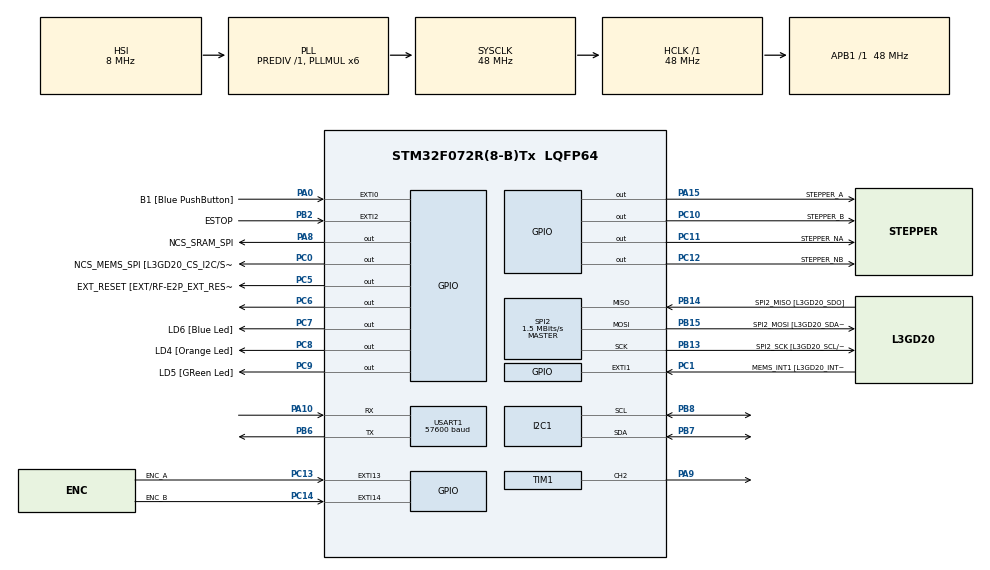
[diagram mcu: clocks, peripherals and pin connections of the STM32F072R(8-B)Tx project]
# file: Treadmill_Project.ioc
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I2C1.Timing=0x00201D2B
Mcu.Family=STM32F0
Mcu.Name=STM32F072R(8-B)Tx
Mcu.Package=LQFP64
NVIC.EXTI2_3_IRQn=true\:0\:0\:false\:false\:true\:true\:true\:true
NVIC.EXTI4_15_IRQn=true\:1\:0\:true\:false\:true\:true\:true\:true
NVIC.TIM7_IRQn=true\:0\:0\:false\:false\:true\:true\:true\:true
PA0.GPIO_Label=B1 [Blue PushButton]
PA0.GPIO_ModeDefaultEXTI=GPIO_MODE_EVT_RISING
PA0.Signal=GPXTI0
PA10.Mode=Asynchronous
PA10.Signal=USART1_RX
PA11.GPIO_Label=USBF4_DM
PA11.Signal=USB_DM
PA12.GPIO_Label=USBF4_DP
PA12.Signal=USB_DP
PA13.GPIO_Label=SWDIO
PA13.Signal=SYS_SWDIO
PA14.GPIO_Label=SWCLK
PA14.Signal=SYS_SWCLK
PA15.GPIO_Label=STEPPER_A
PA15.Signal=GPIO_Output
PA2.Signal=TSC_G1_IO3
PA3.Signal=TSC_G1_IO4
PA6.Signal=TSC_G2_IO3
PA7.Signal=TSC_G2_IO4
PA8.GPIO_Label=NCS_SRAM_SPI
PA8.Signal=GPIO_Output
PA9.Signal=S_TIM1_CH2
PB0.Signal=TSC_G3_IO2
PB1.Signal=TSC_G3_IO3
PB10.GPIO_Label=I2C2_SCL[EXT/RF-E2P_SCL]
PB10.Signal=I2C2_SCL
PB11.GPIO_Label=I2C2_SDA[EXT/RF-E2P_SDA]
PB11.Signal=I2C2_SDA
PB13.GPIO_Label=SPI2_SCK [L3GD20_SCL/SPC]
PB13.Mode=Full_Duplex_Master
PB13.Signal=SPI2_SCK
PB14.GPIO_Label=SPI2_MISO [L3GD20_SDO]
PB14.Mode=Full_Duplex_Master
PB14.Signal=SPI2_MISO
PB15.GPIO_Label=SPI2_MOSI [L3GD20_SDA/SDI]
PB15.Mode=Full_Duplex_Master
PB15.Signal=SPI2_MOSI
PB2.GPIO_Label=ESTOP
PB2.GPIO_PuPd=GPIO_PULLDOWN
PB2.Signal=GPXTI2
PB6.Mode=Asynchronous
PB6.Signal=USART1_TX
PB7.Mode=I2C
PB7.Signal=I2C1_SDA
PB8.Mode=I2C
PB8.Signal=I2C1_SCL
PC0.GPIO_Label=NCS_MEMS_SPI [L3GD20_CS_I2C/SPI]
PC0.Signal=GPIO_Output
PC1.GPIO_Label=MEMS_INT1 [L3GD20_INT1]
PC1.GPIO_ModeDefaultEXTI=GPIO_MODE_EVT_RISING
PC1.Signal=GPXTI1
PC10.GPIO_Label=STEPPER_B
PC10.Signal=GPIO_Output
PC11.GPIO_Label=STEPPER_NA
PC11.Signal=GPIO_Output
PC12.GPIO_Label=STEPPER_NB
PC12.Signal=GPIO_Output
PC13.GPIO_Label=ENC_A
PC13.Signal=GPXTI13
PC14-OSC32_IN.GPIO_Label=ENC_B
PC14-OSC32_IN.Signal=GPXTI14
PC5.GPIO_Label=EXT_RESET [EXT/RF-E2P_EXT_RESET]
PC5.Signal=GPIO_Output
PC6.Signal=GPIO_Output
PC7.GPIO_Label=LD6 [Blue Led]
PC7.Signal=GPIO_Output
PC8.GPIO_Label=LD4 [Orange Led]
PC8.Signal=GPIO_Output
PC9.GPIO_Label=LD5 [GReen Led]
PC9.Signal=GPIO_Output
ProjectManager.HeapSize=0x200
ProjectManager.StackSize=0x400
ProjectManager.TargetToolchain=CMake
RCC.AHBFreq_Value=48000000
RCC.APB1Freq_Value=48000000
RCC.APB1TimFreq_Value=48000000
RCC.HCLKFreq_Value=48000000
RCC.PLLMUL=RCC_PLL_MUL6
RCC.SYSCLKFreq_VALUE=48000000
RCC.SYSCLKSource=RCC_SYSCLKSOURCE_PLLCLK
SH.S_TIM1_CH2.0=TIM1_CH2,PWM Generation2 CH2
SPI2.BaudRatePrescaler=SPI_BAUDRATEPRESCALER_32
SPI2.CalculateBaudRate=1.5 MBits/s
SPI2.DataSize=SPI_DATASIZE_8BIT
SPI2.Direction=SPI_DIRECTION_2LINES
SPI2.Mode=SPI_MODE_MASTER
SPI2.VirtualType=VM_MASTER
TIM1.Channel-PWM\ Generation2\ CH2=TIM_CHANNEL_2
TIM1.Period=63156
TIM1.Prescaler=18
TIM7.Prescaler=23
USART1.BaudRate=57600
USART1.VirtualMode-Asynchronous=VM_ASYNC
VP_TIM1_VS_ClockSourceINT.Mode=Internal
VP_TIM7_VS_ClockSourceINT.Mode=Enable_Timer
board=STM32F072B-DISCO

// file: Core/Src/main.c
/* USER CODE BEGIN Header */
/**
 ******************************************************************************
 * @file           : main.c
 * @brief          : Main program body
 ******************************************************************************
 * @attention
 *
 * Copyright (c) 2025 STMicroelectronics.
 * All rights reserved.
 *
 * This software is licensed under terms that can be found in the LICENSE file
 * in the root directory of this software component.
 * If no LICENSE file comes with this software, it is provided AS-IS.
 *
 ******************************************************************************
 */
/* USER CODE END Header */
#include "main.h"

/* USER CODE BEGIN Includes */
#include <math.h>
#include <stdio.h>
#include <string.h>
#include "I2C_LCD_PCF8574.h"
/* USER CODE END Includes */

/* USER CODE BEGIN PD */

static const uint8_t SRAM_WR_CMD = 0x02;
static const uint8_t SRAM_RD_CMD = 0x03;

static const int STEPS_PER_REV = 2048;

#define MAX_SAVE_SLOTS 10
#define WORKOUT_ADDR_BASE 0x0000

#define WORKOUT_MAGIC 0xAA55
#define WORKOUT_SIZE sizeof(WorkoutData_t)

#define MENU_LIVE_DISPLAY 0
#define MENU_WRITE_WORKOUT 1
#define MENU_VIEW_HISTORY 2
#define MENU_SETTINGS 3

typedef struct
{
  uint16_t magicNumber;
  int32_t totalSteps;
  int32_t totalDistance;
  int32_t totalCalories;
  uint16_t slotUsed;
} __packed WorkoutData_t;
/* USER CODE END PD */

I2C_HandleTypeDef hi2c1;

SPI_HandleTypeDef hspi2;

TIM_HandleTypeDef htim1;
TIM_HandleTypeDef htim7;

UART_HandleTypeDef huart1;

/* USER CODE BEGIN PV */
int totalSteps = 0;
int totalDistance = 0; // meters
int totalCalories = 0;
volatile int encDir = 0;
volatile int step = 0;
int stepDir = 0;
int targetStepperRPM = 0;
int targetServoPosDeg = 0;
/* USER CODE END PV */

void SystemClock_Config(void);
static void MX_GPIO_Init(void);
static void MX_I2C1_Init(void);
static void MX_SPI2_Init(void);
static void MX_USART1_UART_Init(void);
static void MX_TIM7_Init(void);
static void MX_TIM1_Init(void);
/* USER CODE BEGIN PFP */

int distanceTraveled(int motorSteps);

int stepsWalked(int distanceTraveled);

int caloriesBurned(int stepsWalked);

void readSRAM(uint16_t addr, uint8_t *rd_array, uint16_t size);

void writeSRAM(uint16_t addr, uint8_t *wr_array, uint16_t size);

void setServoPos(double servoPosDeg);

void setStepperSpeed(double rpm, int direction);

void adjustSettings(void);

void updateLiveDisplay(void);

void saveWorkout(uint8_t slot);

void loadWorkout(uint8_t slot);

void processUARTCommand(uint8_t *cmdBuffer);

void handleViewWorkouts(void);

/* USER CODE END PFP */

int main(void)
{

  /* USER CODE BEGIN 1 */
  char lcdStr1[17];
  char lcdStr2[17];
  /* USER CODE END 1 */

  /* MCU Configuration--------------------------------------------------------*/

  /* Reset of all peripherals, Initializes the Flash interface and the Systick. */
  HAL_Init();

  /* Configure the system clock */
  SystemClock_Config();

  /* Initialize all configured peripherals */
  MX_GPIO_Init();
  MX_I2C1_Init();
  MX_SPI2_Init();
  MX_USART1_UART_Init();
  MX_TIM7_Init();
  MX_TIM1_Init();
  /* USER CODE BEGIN 2 */
  // Start timer 7 for the stepper
  HAL_TIM_Base_Start_IT(&htim7);

  // Start 40Hz PWM for the servo
  HAL_TIM_PWM_Start(&htim1, TIM_CHANNEL_2);
  TIM1->CCR2 = 0;

  // Initalize the LCD
  LCD_Start();

  // Configure SRAM for sequential reads and writes
  uint8_t sramEnSequentialReadCMD[2] = {0x05, 0x40};
  uint8_t sramEnSequentialWriteCMD[2] = {0x01, 0x40};
  HAL_GPIO_WritePin(NCS_SRAM_SPI_GPIO_Port, NCS_SRAM_SPI_Pin, GPIO_PIN_RESET);
  HAL_SPI_Transmit(&hspi2, sramEnSequentialReadCMD, 2, 100);
  HAL_GPIO_WritePin(NCS_SRAM_SPI_GPIO_Port, NCS_SRAM_SPI_Pin, GPIO_PIN_SET);
  HAL_Delay(5);
  HAL_GPIO_WritePin(NCS_SRAM_SPI_GPIO_Port, NCS_SRAM_SPI_Pin, GPIO_PIN_RESET);
  HAL_SPI_Transmit(&hspi2, sramEnSequentialWriteCMD, 2, 100);
  HAL_GPIO_WritePin(NCS_SRAM_SPI_GPIO_Port, NCS_SRAM_SPI_Pin, GPIO_PIN_SET);

  // Variable to keep track of live display refresh
  uint32_t liveDisplayLastRefresh = HAL_GetTick();

  // Variable to prevent updating the LCD too often
  int updateLCD = 0;

  // UI variables
  int currentSlot = 0;
  int currentMenu = MENU_LIVE_DISPLAY;
  int editSlot = 0;

  /* USER CODE END 2 */

  /* Infinite loop */
  /* USER CODE BEGIN WHILE */
  while (1)
  {
    if (encDir && !editSlot)
    {
      updateLCD = 1;
      // Cycle through menu options
      currentMenu += encDir;
      currentMenu = (currentMenu > 3) ? (0) : ((currentMenu < 0) ? (3) : currentMenu);

      switch (currentMenu)
      {
      case MENU_LIVE_DISPLAY:
        break;
      case MENU_WRITE_WORKOUT:
        snprintf(lcdStr1, 16, "Write Workout");
        snprintf(lcdStr2, 16, "B1 to set slot");
        break;
      case MENU_VIEW_HISTORY:
        snprintf(lcdStr1, 16, "Send to computer");
        snprintf(lcdStr2, 16, "B1 to set slot");
        break;
      case MENU_SETTINGS:
        snprintf(lcdStr1, 16, "Settings");
        snprintf(lcdStr2, 16, "B1 to enter");
        break;
      }
      encDir = 0;
    }

    // Handle each menu state
    switch (currentMenu)
    {
    case MENU_LIVE_DISPLAY:
      // Update live display
      if (HAL_GetTick() - liveDisplayLastRefresh >= 250)
      {
        liveDisplayLastRefresh = HAL_GetTick();
        updateLiveDisplay();
      }
      break;

    case MENU_WRITE_WORKOUT:
      if (encDir && editSlot)
      {
        currentSlot += encDir;
        currentSlot = (currentSlot > MAX_SAVE_SLOTS) ? (0) : ((currentSlot < 0) ? (MAX_SAVE_SLOTS) : currentSlot);

        snprintf(lcdStr1, 16, "Save to slot %d?", currentSlot);

        updateLCD = 1;
        encDir = 0;
      }

      if (HAL_GPIO_ReadPin(B1_GPIO_Port, B1_Pin) && !editSlot)
      {
        editSlot = 1;
        snprintf(lcdStr1, 16, "Save to slot %d?", currentSlot);
        snprintf(lcdStr2, 16, "B1 to save", currentSlot);
        updateLCD = 1;

        // Wait for button release
        while (HAL_GPIO_ReadPin(B1_GPIO_Port, B1_Pin))
          ;
        HAL_Delay(200);
      }

      if (HAL_GPIO_ReadPin(B1_GPIO_Port, B1_Pin) && editSlot)
      {
        WorkoutData_t workout;
        workout.magicNumber = WORKOUT_MAGIC;
        workout.totalSteps = totalSteps;
        workout.totalDistance = totalDistance;
        workout.totalCalories = totalCalories;
        workout.slotUsed = 1;

        uint16_t addr = WORKOUT_ADDR_BASE + (currentSlot * WORKOUT_SIZE);
        writeSRAM(addr, (uint8_t *)&workout, WORKOUT_SIZE);

        // Verify save
        WorkoutData_t verify;
        readSRAM(addr, (uint8_t *)&verify, WORKOUT_SIZE);

        LCD_ClearDisplay();
        LCD_Position(0, 0);
        if (verify.magicNumber == WORKOUT_MAGIC)
        {
          LCD_PrintString("Workout Saved!");
        }
        else
        {
          LCD_PrintString("Save Failed!");
        }

        // Wait for button release
        while (HAL_GPIO_ReadPin(B1_GPIO_Port, B1_Pin))
          ;

        HAL_Delay(1000);
        // Reset flags and return to live display
        editSlot = 0;
        currentMenu = MENU_LIVE_DISPLAY;
      }
      break;

    case MENU_VIEW_HISTORY:
      if (encDir && editSlot)
      {
        currentSlot += encDir;
        currentSlot = (currentSlot > MAX_SAVE_SLOTS) ? (0) : ((currentSlot < 0) ? (MAX_SAVE_SLOTS) : currentSlot);

        snprintf(lcdStr1, 16, "Send slot %d?", currentSlot);

        updateLCD = 1;
        encDir = 0;
      }

      if (HAL_GPIO_ReadPin(B1_GPIO_Port, B1_Pin) && !editSlot)
      {
        editSlot = 1;
        snprintf(lcdStr1, 16, "Send slot %d?", currentSlot);
        snprintf(lcdStr2, 16, "B1 to send", currentSlot);
        updateLCD = 1;

        // Wait for button release
        while (HAL_GPIO_ReadPin(B1_GPIO_Port, B1_Pin))
          ;
        HAL_Delay(200);
      }

      if (HAL_GPIO_ReadPin(B1_GPIO_Port, B1_Pin) && editSlot)
      {
        loadWorkout(currentSlot);

        LCD_ClearDisplay();
        LCD_PrintString("Sent!");

        // Wait for button release
        while (HAL_GPIO_ReadPin(B1_GPIO_Port, B1_Pin))
          ;

        HAL_Delay(1000);
        // Reset flags and return to live display
        editSlot = 0;
        currentMenu = MENU_LIVE_DISPLAY;
      }
      break;

    case MENU_SETTINGS:
      if (HAL_GPIO_ReadPin(B1_GPIO_Port, B1_Pin))
      {
        // Wait for button release
        while (HAL_GPIO_ReadPin(B1_GPIO_Port, B1_Pin))
          ;
        adjustSettings();
      }
      break;
    }

    if (updateLCD)
    {
      updateLCD = 0;
      lcdStr1[16] = 0;
      lcdStr2[16] = 0;

      // Update the LCD
      LCD_ClearDisplay();
      LCD_Position(0, 0);
      LCD_PrintString(lcdStr1);
      LCD_Position(1, 0);
      LCD_PrintString(lcdStr2);
    }

    // Process UART commands (keep this for remote access)
    uint8_t cmdBuffer;
    if (HAL_UART_Receive(&huart1, &cmdBuffer, 1, 10) == HAL_OK)
    {
      HAL_UART_Transmit(&huart1, &cmdBuffer, 1, 100);
      processUARTCommand(&cmdBuffer);
    }
  }
}

void SystemClock_Config(void)
{
  RCC_OscInitTypeDef RCC_OscInitStruct = {0};
  RCC_ClkInitTypeDef RCC_ClkInitStruct = {0};
  RCC_PeriphCLKInitTypeDef PeriphClkInit = {0};

  /** Initializes the RCC Oscillators according to the specified parameters
   * in the RCC_OscInitTypeDef structure.
   */
  RCC_OscInitStruct.OscillatorType = RCC_OSCILLATORTYPE_HSI;
  RCC_OscInitStruct.HSIState = RCC_HSI_ON;
  RCC_OscInitStruct.HSICalibrationValue = RCC_HSICALIBRATION_DEFAULT;
  RCC_OscInitStruct.PLL.PLLState = RCC_PLL_ON;
  RCC_OscInitStruct.PLL.PLLSource = RCC_PLLSOURCE_HSI;
  RCC_OscInitStruct.PLL.PLLMUL = RCC_PLL_MUL6;
  RCC_OscInitStruct.PLL.PREDIV = RCC_PREDIV_DIV1;
  if (HAL_RCC_OscConfig(&RCC_OscInitStruct) != HAL_OK)
  {
    Error_Handler();
  }

  /** Initializes the CPU, AHB and APB buses clocks
   */
  RCC_ClkInitStruct.ClockType = RCC_CLOCKTYPE_HCLK | RCC_CLOCKTYPE_SYSCLK | RCC_CLOCKTYPE_PCLK1;
  RCC_ClkInitStruct.SYSCLKSource = RCC_SYSCLKSOURCE_PLLCLK;
  RCC_ClkInitStruct.AHBCLKDivider = RCC_SYSCLK_DIV1;
  RCC_ClkInitStruct.APB1CLKDivider = RCC_HCLK_DIV1;

  if (HAL_RCC_ClockConfig(&RCC_ClkInitStruct, FLASH_LATENCY_1) != HAL_OK)
  {
    Error_Handler();
  }
  PeriphClkInit.PeriphClockSelection = RCC_PERIPHCLK_USART1 | RCC_PERIPHCLK_I2C1;
  PeriphClkInit.Usart1ClockSelection = RCC_USART1CLKSOURCE_PCLK1;
  PeriphClkInit.I2c1ClockSelection = RCC_I2C1CLKSOURCE_HSI;
  if (HAL_RCCEx_PeriphCLKConfig(&PeriphClkInit) != HAL_OK)
  {
    Error_Handler();
  }
}

static void MX_I2C1_Init(void)
{

  hi2c1.Instance = I2C1;
  hi2c1.Init.Timing = 0x00201D2B;
  hi2c1.Init.OwnAddress1 = 0;
  hi2c1.Init.AddressingMode = I2C_ADDRESSINGMODE_7BIT;
  hi2c1.Init.DualAddressMode = I2C_DUALADDRESS_DISABLE;
  hi2c1.Init.OwnAddress2 = 0;
  hi2c1.Init.OwnAddress2Masks = I2C_OA2_NOMASK;
  hi2c1.Init.GeneralCallMode = I2C_GENERALCALL_DISABLE;
  hi2c1.Init.NoStretchMode = I2C_NOSTRETCH_DISABLE;
  if (HAL_I2C_Init(&hi2c1) != HAL_OK)
  {
    Error_Handler();
  }

  /** Configure Analogue filter
   */
  if (HAL_I2CEx_ConfigAnalogFilter(&hi2c1, I2C_ANALOGFILTER_ENABLE) != HAL_OK)
  {
    Error_Handler();
  }

  /** Configure Digital filter
   */
  if (HAL_I2CEx_ConfigDigitalFilter(&hi2c1, 0) != HAL_OK)
  {
    Error_Handler();
  }
}

static void MX_SPI2_Init(void)
{

  /* SPI2 parameter configuration*/
  hspi2.Instance = SPI2;
  hspi2.Init.Mode = SPI_MODE_MASTER;
  hspi2.Init.Direction = SPI_DIRECTION_2LINES;
  hspi2.Init.DataSize = SPI_DATASIZE_8BIT;
  hspi2.Init.CLKPolarity = SPI_POLARITY_LOW;
  hspi2.Init.CLKPhase = SPI_PHASE_1EDGE;
  hspi2.Init.NSS = SPI_NSS_SOFT;
  hspi2.Init.BaudRatePrescaler = SPI_BAUDRATEPRESCALER_32;
  hspi2.Init.FirstBit = SPI_FIRSTBIT_MSB;
  hspi2.Init.TIMode = SPI_TIMODE_DISABLE;
  hspi2.Init.CRCCalculation = SPI_CRCCALCULATION_DISABLE;
  hspi2.Init.CRCPolynomial = 7;
  hspi2.Init.CRCLength = SPI_CRC_LENGTH_DATASIZE;
  hspi2.Init.NSSPMode = SPI_NSS_PULSE_ENABLE;
  if (HAL_SPI_Init(&hspi2) != HAL_OK)
  {
    Error_Handler();
  }
}

static void MX_TIM1_Init(void)
{

  TIM_ClockConfigTypeDef sClockSourceConfig = {0};
  TIM_MasterConfigTypeDef sMasterConfig = {0};
  TIM_OC_InitTypeDef sConfigOC = {0};
  TIM_BreakDeadTimeConfigTypeDef sBreakDeadTimeConfig = {0};

  htim1.Instance = TIM1;
  htim1.Init.Prescaler = 18;
  htim1.Init.CounterMode = TIM_COUNTERMODE_UP;
  htim1.Init.Period = 63156;
  htim1.Init.ClockDivision = TIM_CLOCKDIVISION_DIV1;
  htim1.Init.RepetitionCounter = 0;
  htim1.Init.AutoReloadPreload = TIM_AUTORELOAD_PRELOAD_DISABLE;
  if (HAL_TIM_Base_Init(&htim1) != HAL_OK)
  {
    Error_Handler();
  }
  sClockSourceConfig.ClockSource = TIM_CLOCKSOURCE_INTERNAL;
  if (HAL_TIM_ConfigClockSource(&htim1, &sClockSourceConfig) != HAL_OK)
  {
    Error_Handler();
  }
  if (HAL_TIM_PWM_Init(&htim1) != HAL_OK)
  {
    Error_Handler();
  }
  sMasterConfig.MasterOutputTrigger = TIM_TRGO_RESET;
  sMasterConfig.MasterSlaveMode = TIM_MASTERSLAVEMODE_DISABLE;
  if (HAL_TIMEx_MasterConfigSynchronization(&htim1, &sMasterConfig) != HAL_OK)
  {
    Error_Handler();
  }
  sConfigOC.OCMode = TIM_OCMODE_PWM1;
  sConfigOC.Pulse = 0;
  sConfigOC.OCPolarity = TIM_OCPOLARITY_HIGH;
  sConfigOC.OCNPolarity = TIM_OCNPOLARITY_HIGH;
  sConfigOC.OCFastMode = TIM_OCFAST_DISABLE;
  sConfigOC.OCIdleState = TIM_OCIDLESTATE_RESET;
  sConfigOC.OCNIdleState = TIM_OCNIDLESTATE_RESET;
  if (HAL_TIM_PWM_ConfigChannel(&htim1, &sConfigOC, TIM_CHANNEL_2) != HAL_OK)
  {
    Error_Handler();
  }
  sBreakDeadTimeConfig.OffStateRunMode = TIM_OSSR_DISABLE;
  sBreakDeadTimeConfig.OffStateIDLEMode = TIM_OSSI_DISABLE;
  sBreakDeadTimeConfig.LockLevel = TIM_LOCKLEVEL_OFF;
  sBreakDeadTimeConfig.DeadTime = 0;
  sBreakDeadTimeConfig.BreakState = TIM_BREAK_DISABLE;
  sBreakDeadTimeConfig.BreakPolarity = TIM_BREAKPOLARITY_HIGH;
  sBreakDeadTimeConfig.AutomaticOutput = TIM_AUTOMATICOUTPUT_DISABLE;
  if (HAL_TIMEx_ConfigBreakDeadTime(&htim1, &sBreakDeadTimeConfig) != HAL_OK)
  {
    Error_Handler();
  }
  HAL_TIM_MspPostInit(&htim1);
}

static void MX_TIM7_Init(void)
{

  TIM_MasterConfigTypeDef sMasterConfig = {0};

  htim7.Instance = TIM7;
  htim7.Init.Prescaler = 23;
  htim7.Init.CounterMode = TIM_COUNTERMODE_UP;
  htim7.Init.Period = 65535;
  htim7.Init.AutoReloadPreload = TIM_AUTORELOAD_PRELOAD_DISABLE;
  if (HAL_TIM_Base_Init(&htim7) != HAL_OK)
  {
    Error_Handler();
  }
  sMasterConfig.MasterOutputTrigger = TIM_TRGO_RESET;
  sMasterConfig.MasterSlaveMode = TIM_MASTERSLAVEMODE_DISABLE;
  if (HAL_TIMEx_MasterConfigSynchronization(&htim7, &sMasterConfig) != HAL_OK)
  {
    Error_Handler();
  }
}

static void MX_USART1_UART_Init(void)
{

  huart1.Instance = USART1;
  huart1.Init.BaudRate = 57600;
  huart1.Init.WordLength = UART_WORDLENGTH_8B;
  huart1.Init.StopBits = UART_STOPBITS_1;
  huart1.Init.Parity = UART_PARITY_NONE;
  huart1.Init.Mode = UART_MODE_TX_RX;
  huart1.Init.HwFlowCtl = UART_HWCONTROL_NONE;
  huart1.Init.OverSampling = UART_OVERSAMPLING_16;
  huart1.Init.OneBitSampling = UART_ONE_BIT_SAMPLE_DISABLE;
  huart1.AdvancedInit.AdvFeatureInit = UART_ADVFEATURE_NO_INIT;
  if (HAL_UART_Init(&huart1) != HAL_OK)
  {
    Error_Handler();
  }
}

static void MX_GPIO_Init(void)
{
  GPIO_InitTypeDef GPIO_InitStruct = {0};

  /* GPIO Ports Clock Enable */
  __HAL_RCC_GPIOC_CLK_ENABLE();
  __HAL_RCC_GPIOA_CLK_ENABLE();
  __HAL_RCC_GPIOB_CLK_ENABLE();

  /*Configure GPIO pin Output Level */
  HAL_GPIO_WritePin(GPIOC, NCS_MEMS_SPI_Pin | EXT_RESET_Pin | GPIO_PIN_6 | LD6_Pin | LD4_Pin | LD5_Pin | STEPPER_B_Pin | STEPPER_NA_Pin | STEPPER_NB_Pin, GPIO_PIN_RESET);

  /*Configure GPIO pin Output Level */
  HAL_GPIO_WritePin(GPIOA, NCS_SRAM_SPI_Pin | STEPPER_A_Pin, GPIO_PIN_RESET);

  /*Configure GPIO pins : ENC_A_Pin ENC_B_Pin */
  GPIO_InitStruct.Pin = ENC_A_Pin | ENC_B_Pin;
  GPIO_InitStruct.Mode = GPIO_MODE_IT_RISING;
  GPIO_InitStruct.Pull = GPIO_NOPULL;
  HAL_GPIO_Init(GPIOC, &GPIO_InitStruct);

  /*Configure GPIO pins : NCS_MEMS_SPI_Pin EXT_RESET_Pin PC6 LD6_Pin
                           LD4_Pin LD5_Pin STEPPER_B_Pin STEPPER_NA_Pin
                           STEPPER_NB_Pin */
  GPIO_InitStruct.Pin = NCS_MEMS_SPI_Pin | EXT_RESET_Pin | GPIO_PIN_6 | LD6_Pin | LD4_Pin | LD5_Pin | STEPPER_B_Pin | STEPPER_NA_Pin | STEPPER_NB_Pin;
  GPIO_InitStruct.Mode = GPIO_MODE_OUTPUT_PP;
  GPIO_InitStruct.Pull = GPIO_NOPULL;
  GPIO_InitStruct.Speed = GPIO_SPEED_FREQ_LOW;
  HAL_GPIO_Init(GPIOC, &GPIO_InitStruct);

  /*Configure GPIO pin : MEMS_INT1_Pin */
  GPIO_InitStruct.Pin = MEMS_INT1_Pin;
  GPIO_InitStruct.Mode = GPIO_MODE_EVT_RISING;
  GPIO_InitStruct.Pull = GPIO_NOPULL;
  HAL_GPIO_Init(MEMS_INT1_GPIO_Port, &GPIO_InitStruct);

  /*Configure GPIO pin : B1_Pin */
  GPIO_InitStruct.Pin = B1_Pin;
  GPIO_InitStruct.Mode = GPIO_MODE_EVT_RISING;
  GPIO_InitStruct.Pull = GPIO_NOPULL;
  HAL_GPIO_Init(B1_GPIO_Port, &GPIO_InitStruct);

  /*Configure GPIO pins : PA2 PA3 PA6 PA7 */
  GPIO_InitStruct.Pin = GPIO_PIN_2 | GPIO_PIN_3 | GPIO_PIN_6 | GPIO_PIN_7;
  GPIO_InitStruct.Mode = GPIO_MODE_AF_PP;
  GPIO_InitStruct.Pull = GPIO_NOPULL;
  GPIO_InitStruct.Speed = GPIO_SPEED_FREQ_LOW;
  GPIO_InitStruct.Alternate = GPIO_AF3_TSC;
  HAL_GPIO_Init(GPIOA, &GPIO_InitStruct);

  /*Configure GPIO pins : PB0 PB1 */
  GPIO_InitStruct.Pin = GPIO_PIN_0 | GPIO_PIN_1;
  GPIO_InitStruct.Mode = GPIO_MODE_AF_PP;
  GPIO_InitStruct.Pull = GPIO_NOPULL;
  GPIO_InitStruct.Speed = GPIO_SPEED_FREQ_LOW;
  GPIO_InitStruct.Alternate = GPIO_AF3_TSC;
  HAL_GPIO_Init(GPIOB, &GPIO_InitStruct);

  /*Configure GPIO pin : ESTOP_Pin */
  GPIO_InitStruct.Pin = ESTOP_Pin;
  GPIO_InitStruct.Mode = GPIO_MODE_IT_RISING;
  GPIO_InitStruct.Pull = GPIO_PULLDOWN;
  HAL_GPIO_Init(ESTOP_GPIO_Port, &GPIO_InitStruct);

  /*Configure GPIO pins : I2C2_SCL_Pin I2C2_SDA_Pin */
  GPIO_InitStruct.Pin = I2C2_SCL_Pin | I2C2_SDA_Pin;
  GPIO_InitStruct.Mode = GPIO_MODE_AF_OD;
  GPIO_InitStruct.Pull = GPIO_NOPULL;
  GPIO_InitStruct.Speed = GPIO_SPEED_FREQ_HIGH;
  GPIO_InitStruct.Alternate = GPIO_AF1_I2C2;
  HAL_GPIO_Init(GPIOB, &GPIO_InitStruct);

  /*Configure GPIO pins : NCS_SRAM_SPI_Pin STEPPER_A_Pin */
  GPIO_InitStruct.Pin = NCS_SRAM_SPI_Pin | STEPPER_A_Pin;
  GPIO_InitStruct.Mode = GPIO_MODE_OUTPUT_PP;
  GPIO_InitStruct.Pull = GPIO_NOPULL;
  GPIO_InitStruct.Speed = GPIO_SPEED_FREQ_LOW;
  HAL_GPIO_Init(GPIOA, &GPIO_InitStruct);

  /* EXTI interrupt init*/
  HAL_NVIC_SetPriority(EXTI2_3_IRQn, 0, 0);
  HAL_NVIC_EnableIRQ(EXTI2_3_IRQn);

  HAL_NVIC_SetPriority(EXTI4_15_IRQn, 1, 0);
  HAL_NVIC_EnableIRQ(EXTI4_15_IRQn);

}

/* USER CODE BEGIN 4 */
/// @brief
/// @param motorSteps
/// @return
int distanceTraveled(int motorSteps)
{
  return (0.1 * M_PI) * motorSteps / STEPS_PER_REV;
}

/// @brief
/// @param distanceTraveled
/// @return
int stepsWalked(int distanceTraveled)
{
  return distanceTraveled * 2;
}

int caloriesBurned(int stepsWalked)
{
  return stepsWalked * 0.04;
}

/// @brief Read bytes sequentially from the SRAM over SPI starting from addr and ending at addr + size
/// @param addr
/// @param rd_array
/// @param size
void readSRAM(uint16_t addr, uint8_t *rd_array, uint16_t size)
{
  uint8_t spi_rd_buf[size + 3];
  uint8_t spi_wr_buf[size + 3];

  spi_wr_buf[0] = SRAM_RD_CMD;
  spi_wr_buf[1] = (addr >> 8) & 0xFF;
  spi_wr_buf[2] = addr & 0xFF;
  for (int i = 0; i < size; i++)
  {
    spi_wr_buf[i + 3] = 0xAA; // Dummy value to be able to read
  }

  HAL_GPIO_WritePin(NCS_SRAM_SPI_GPIO_Port, NCS_SRAM_SPI_Pin, GPIO_PIN_RESET);
  HAL_SPI_TransmitReceive(&hspi2, spi_wr_buf, spi_rd_buf, size + 3, 100);
  HAL_GPIO_WritePin(NCS_SRAM_SPI_GPIO_Port, NCS_SRAM_SPI_Pin, GPIO_PIN_SET);
  HAL_Delay(2);

  for (int i = 0; i < size; i++)
  {
    rd_array[i] = spi_rd_buf[i + 3]; // Copy bytes from the read buffer into the destination array
  }
}

/// @brief Write bytes sequentially to the SRAM over SPI starting from addr and ending at addr + size
/// @param addr
/// @param wr_array
/// @param size
void writeSRAM(uint16_t addr, uint8_t *wr_array, uint16_t size)
{
  uint8_t spi_wr_buf[size + 3];

  spi_wr_buf[0] = SRAM_WR_CMD;
  spi_wr_buf[1] = (addr >> 8) & 0xFF;
  spi_wr_buf[2] = addr & 0xFF;
  for (int i = 0; i < size; i++)
  {
    spi_wr_buf[i + 3] = wr_array[i]; // Copy bytes from the write array into the write buffer
  }

  HAL_GPIO_WritePin(NCS_SRAM_SPI_GPIO_Port, NCS_SRAM_SPI_Pin, GPIO_PIN_RESET);
  HAL_SPI_Transmit(&hspi2, spi_wr_buf, size + 3, 100);
  HAL_GPIO_WritePin(NCS_SRAM_SPI_GPIO_Port, NCS_SRAM_SPI_Pin, GPIO_PIN_SET);
  HAL_Delay(2);
}

/// @brief Set the servo position to servoPosDeg by changing the PWM pulse width.
///
/// The valid range for the servo position is about 0-210 deg
/// @param servoPosDeg
void setServoPos(double servoPosDeg)
{
  // Constrain servoPosDeg to between 0 and 210
  servoPosDeg = (servoPosDeg > 210) ? (210) : ((servoPosDeg < 0) ? (0) : (servoPosDeg));

  // Map the servo position in degrees to a valid TIM1->CCR2 value
  // The servo only responds to pulse widths between about 350-2600 us
  uint16_t regVal = (((servoPosDeg * (2600 - 350) / 210) + 350) / 25000) * 63156;
  TIM1->CCR2 = regVal;
}

/// @brief Set the stepper motor's speed to rpm and set the rotation direction
/// @param rpm
/// @param direction +-1
void setStepperSpeed(double rpm, int direction)
{
  if (rpm == 0)
  {
    HAL_TIM_Base_Stop_IT(&htim7);
  }
  else
  {
    HAL_TIM_Base_Start_IT(&htim7);
  }
  TIM7->ARR = 60.0 * 48000000.0 / 24 / rpm / (double)STEPS_PER_REV - 1;
  stepDir = direction;
}

void updateLiveDisplay(void)
{
  char lcdStr1[17];
  char lcdStr2[17];

  // Calculate distance traveled
  totalDistance = distanceTraveled(step); // meters

  // Calculate steps walked
  totalSteps = stepsWalked(totalDistance); // average step length meters

  // Calculate calories burned
  totalCalories = caloriesBurned(totalSteps); // about 0.04 calories per step

  // Update LCD
  snprintf(lcdStr1, 17, "Dist: %d m", totalDistance);
  snprintf(lcdStr2, 17, "Cal: %d", totalCalories);

  lcdStr1[16] = 0;
  lcdStr1[16] = 0;

  LCD_ClearDisplay();
  LCD_Position(0, 0);
  LCD_PrintString(lcdStr1);
  LCD_Position(1, 0);
  LCD_PrintString(lcdStr2);
}

void adjustSettings(void)
{
  char lcdStr1[17];
  char lcdStr2[17];
  int updateLCD = 0;

  int exitflag = 0;
  int menuIndex = 0;
  int settingMode = 0;

  while (!exitflag)
  {
    if (encDir)
    {
      updateLCD = 1;

      if (settingMode) // Adjust current setting if in settingMode
      {
        switch (menuIndex)
        {
        case 0:
          targetStepperRPM += encDir * 2; // Adjust RPM by 2 per encoder tick
          targetStepperRPM = (targetStepperRPM > 21) ? (21) : ((targetStepperRPM < 0) ? (0) : (targetStepperRPM));
          break;
        case 1:
          targetServoPosDeg += encDir * 5; // Adjust servo position by 5 degrees per encoder tick
          targetServoPosDeg = (targetServoPosDeg > 30) ? (30) : ((targetServoPosDeg < 0) ? (0) : (targetServoPosDeg));
          break;
        case 2:
          exitflag = 1;
          break;
        }
      }
      else if (!settingMode) // Adjust menu index if not in settingMode
      {
        menuIndex += encDir;
        menuIndex = (menuIndex > 2) ? (0) : ((menuIndex < 0) ? (2) : (menuIndex));
      }

      encDir = 0;
    }

    // Check B1 button press to enter/exit adjustment mode
    if (HAL_GPIO_ReadPin(B1_GPIO_Port, B1_Pin))
    {
      updateLCD = 1;
      if (settingMode == 0)
      {
        settingMode = 1; // Enter adjustment mode
      }
      else
      {
        // Exiting adjustment mode — apply the settings
        setStepperSpeed(targetStepperRPM, 1);
        setServoPos(targetServoPosDeg);
        settingMode = 0; // Exit adjustment mode
      }
      while (HAL_GPIO_ReadPin(B1_GPIO_Port, B1_Pin))
        ; // Wait for button release
    }

    // Update display with current menu
    if (updateLCD)
    {
      updateLCD = 0;
      switch (menuIndex)
      {
      case 0:
        snprintf(lcdStr1, sizeof(lcdStr1), "Set Speed:");
        break;
      case 1:
        snprintf(lcdStr1, sizeof(lcdStr1), "Set Incline:");
        break;
      case 2:
        snprintf(lcdStr1, sizeof(lcdStr1), "Exit Settings:");
        break;
      }

      if (settingMode)
      {
        switch (menuIndex)
        {
        case 0:
          snprintf(lcdStr2, sizeof(lcdStr2), "%d RPM", targetStepperRPM);
          break;
        case 1:
          snprintf(lcdStr2, sizeof(lcdStr2), "%d deg", targetServoPosDeg);
          break;
        case 2:
          snprintf(lcdStr2, sizeof(lcdStr2), "Move enc to Exit");
          break;
        }
      }
      else
      {
        snprintf(lcdStr2, sizeof(lcdStr2), "Press B1 to Edit");
      }

      lcdStr1[16] = 0;
      lcdStr2[16] = 0;

      // Update the LCD
      LCD_ClearDisplay();
      LCD_Position(0, 0);
      LCD_PrintString(lcdStr1);
      LCD_Position(1, 0);
      LCD_PrintString(lcdStr2);
    }
  }
}

void saveWorkout(uint8_t slot)
{
  // Add debug output before saving
  char debugMsg[64];
  snprintf(debugMsg, sizeof(debugMsg),
           "\r\nSaving to slot %d: Steps=%d, Dist=%d, Cal=%d\r\n",
           slot, totalSteps, totalDistance, totalCalories);
  HAL_UART_Transmit(&huart1, (uint8_t *)debugMsg, strlen(debugMsg), 100);

  WorkoutData_t workout;
  workout.magicNumber = WORKOUT_MAGIC;
  workout.totalSteps = totalSteps;
  workout.totalDistance = totalDistance;
  workout.totalCalories = totalCalories;
  workout.slotUsed = 1;

  uint16_t addr = WORKOUT_ADDR_BASE + (slot * WORKOUT_SIZE);

  // Write the structure to SRAM
  writeSRAM(addr, (uint8_t *)&workout, WORKOUT_SIZE);

  // Verify the write by reading back
  WorkoutData_t verify;
  readSRAM(addr, (uint8_t *)&verify, WORKOUT_SIZE);

  if (verify.magicNumber == WORKOUT_MAGIC)
  {
    char uartBuffer[64];
    snprintf(uartBuffer, sizeof(uartBuffer),
             "Successfully saved workout in slot %d:\r\nSteps: %ld\r\nDist: %ld m\r\nCal: %ld\r\n",
             slot, verify.totalSteps, verify.totalDistance, verify.totalCalories);
    HAL_UART_Transmit(&huart1, (uint8_t *)uartBuffer, strlen(uartBuffer), 100);
  }
}

void loadWorkout(uint8_t slot)
{
  WorkoutData_t workout;
  uint16_t addr = WORKOUT_ADDR_BASE + (slot * WORKOUT_SIZE);

  // Clear the structure before reading
  memset(&workout, 0, WORKOUT_SIZE);

  // Read from SRAM
  readSRAM(addr, (uint8_t *)&workout, WORKOUT_SIZE);

  // Debug output of raw values
  char debugMsg[64];
  snprintf(debugMsg, sizeof(debugMsg),
           "\r\nRaw data from slot %d: Magic=0x%04X, Used=%d\r\n",
           slot, workout.magicNumber, workout.slotUsed);
  HAL_UART_Transmit(&huart1, (uint8_t *)debugMsg, strlen(debugMsg), 100);

  if (workout.magicNumber == WORKOUT_MAGIC && workout.slotUsed)
  {
    char uartBuffer[64];
    snprintf(uartBuffer, sizeof(uartBuffer),
             "Slot %d workout:\r\nSteps: %ld\r\nDistance: %ld m\r\nCalories: %ld\r\n",
             slot, workout.totalSteps, workout.totalDistance, workout.totalCalories);
    HAL_UART_Transmit(&huart1, (uint8_t *)uartBuffer, strlen(uartBuffer), 100);
  }
  else
  {
    char uartBuffer[32];
    snprintf(uartBuffer, sizeof(uartBuffer),
             "No valid workout in slot %d\r\n", slot);
    HAL_UART_Transmit(&huart1, (uint8_t *)uartBuffer, strlen(uartBuffer), 100);
  }
}

void processUARTCommand(uint8_t *cmdBuffer)
{
  switch (cmdBuffer[0])
  {
  case 'v':
  case 'V':
    // View all workout slots
    handleViewWorkouts();
    break;

  case '0':
  case '1':
  case '2':
  case '3':
  case '4':
  case '5':
  case '6':
  case '7':
  case '8':
  case '9':
    // View specific slot
    loadWorkout(cmdBuffer[0] - '0');
    break;

  case 'h':
  case 'H':
    // Help menu
    {
      const char *helpMsg =
          "\r\nTreadmill Workout Commands:\r\n"
          "v - View all workout slots\r\n"
          "0-9 - View specific slot\r\n"
          "h - Show this help menu\r\n";
      HAL_UART_Transmit(&huart1, (uint8_t *)helpMsg, strlen(helpMsg), 100);
    }
    break;
  }
}

void handleViewWorkouts(void)
{
  char uartBuffer[128];
  snprintf(uartBuffer, sizeof(uartBuffer), "\r\nStored Workouts:\r\n");
  HAL_UART_Transmit(&huart1, (uint8_t *)uartBuffer, strlen(uartBuffer), 100);

  for (uint8_t slot = 0; slot < MAX_SAVE_SLOTS; slot++)
  {
    WorkoutData_t workout;
    uint16_t addr = WORKOUT_ADDR_BASE + (slot * WORKOUT_SIZE);

    readSRAM(addr, (uint8_t *)&workout, WORKOUT_SIZE);

    if (workout.magicNumber == WORKOUT_MAGIC && workout.slotUsed)
    {
      snprintf(uartBuffer, sizeof(uartBuffer),
               "\r\nSlot %d:\r\nSteps: %ld\r\nDistance: %ld m\r\nCalories: %ld\r\n",
               slot, workout.totalSteps, workout.totalDistance, workout.totalCalories);
    }
    else
    {
      snprintf(uartBuffer, sizeof(uartBuffer),
               "\r\nSlot %d: [empty]\r\n", slot);
    }
    HAL_UART_Transmit(&huart1, (uint8_t *)uartBuffer, strlen(uartBuffer), 100);
  }
}
/* USER CODE END 4 */

void Error_Handler(void)
{
  __disable_irq();
  while (1)
  {
  }
}
